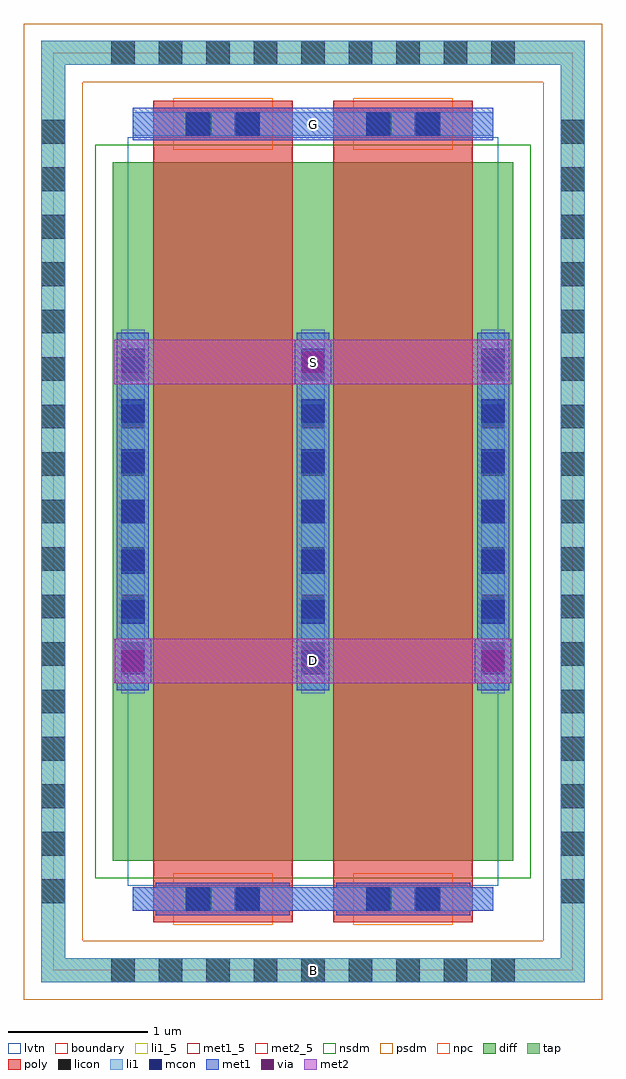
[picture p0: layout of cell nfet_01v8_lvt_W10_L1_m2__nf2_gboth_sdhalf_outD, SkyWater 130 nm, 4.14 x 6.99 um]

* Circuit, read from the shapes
.subckt nfet_01v8_lvt_W10_L1_m2__nf2_gboth_sdhalf_outD B D G S
XM1 S G D B sky130_fd_pr__nfet_01v8_lvt w=5 l=1 m=2
.ends

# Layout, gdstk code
import gdstk
lib = gdstk.Library(unit=1e-6, precision=1e-09)
def R(c, l, rs):  # rectangles x0, y0, x1, y1
    for r in rs: c.add(gdstk.rectangle(r[:2], r[2:], *l))
def A(c, l, x, y, w, h, nx, ny, dx, dy):  # array of equal rectangles
    R(c, l, [(x+i*dx, y+j*dy, x+i*dx+w, y+j*dy+h) for i in range(nx) for j in range(ny)])
diff = (65, 20)
tap = (65, 44)
poly = (66, 20)
licon = (66, 44)
li1_5 = (67, 5)
li1 = (67, 20)
mcon = (67, 44)
met1_5 = (68, 5)
met1 = (68, 20)
via = (68, 44)
met2_5 = (69, 5)
met2 = (69, 20)
nsdm = (93, 44)
psdm = (94, 20)
npc = (95, 20)
lvtn = (125, 44)
boundary = (235, 4)

sky130_fd_pr__nfet_01v8_ = lib.new_cell('sky130_fd_pr__nfet_01v8_lvt_W97P6K')
R(sky130_fd_pr__nfet_01v8_, diff, [(-1.435,-2.5,1.435,2.5)])
R(sky130_fd_pr__nfet_01v8_, tap, [(-1.945,-3.37,1.945,-3.2), (-1.945,-3.2,-1.775,3.2), (1.775,-3.2,1.945,3.2), (-1.945,3.2,1.945,3.37)])
R(sky130_fd_pr__nfet_01v8_, poly, [(-1.145,-2.94,-0.145,2.94), (0.145,-2.94,1.145,2.94)])
A(sky130_fd_pr__nfet_01v8_, licon, -1.445, -3.37, 0.17, 0.17, 9, 2, 0.34, 6.57)
A(sky130_fd_pr__nfet_01v8_, licon, -1.945, -2.805, 0.17, 0.17, 1, 17, 0, 0.34)
A(sky130_fd_pr__nfet_01v8_, licon, 1.775, -2.805, 0.17, 0.17, 1, 17, 0, 0.34)
A(sky130_fd_pr__nfet_01v8_, licon, -1.375, -1.105, 0.17, 0.17, 3, 7, 1.29, 0.34)
R(sky130_fd_pr__nfet_01v8_, licon, [(-0.9,-2.86,-0.73,-2.69), (-0.56,-2.86,-0.39,-2.69), (0.39,-2.86,0.56,-2.69), (0.73,-2.86,0.9,-2.69), (-0.9,2.69,-0.73,2.86), (-0.56,2.69,-0.39,2.86), (0.39,2.69,0.56,2.86), (0.73,2.69,0.9,2.86)])
A(sky130_fd_pr__nfet_01v8_, li1, -1.375, -1.3, 0.17, 2.6, 3, 1, 1.29, 0)
R(sky130_fd_pr__nfet_01v8_, li1, [(-1.945,-3.37,1.945,-3.2), (-1.945,-3.2,-1.775,3.2), (1.775,-3.2,1.945,3.2), (-1.29,-2.86,1.29,-2.69), (-1.29,2.69,1.29,2.86), (-1.945,3.2,1.945,3.37)])
A(sky130_fd_pr__nfet_01v8_, mcon, -1.375, -1.165, 0.17, 0.17, 3, 7, 1.29, 0.36)
R(sky130_fd_pr__nfet_01v8_, mcon, [(-0.91,-2.86,-0.74,-2.69), (-0.55,-2.86,-0.38,-2.69), (0.38,-2.86,0.55,-2.69), (0.74,-2.86,0.91,-2.69), (-0.91,2.69,-0.74,2.86), (-0.55,2.69,-0.38,2.86), (0.38,2.69,0.55,2.86), (0.74,2.69,0.91,2.86)])
A(sky130_fd_pr__nfet_01v8_, met1, -1.405, -1.28, 0.23, 2.56, 3, 1, 1.29, 0)
R(sky130_fd_pr__nfet_01v8_, met1, [(-1.125,-2.89,-0.165,-2.86), (0.165,-2.89,1.125,-2.86), (-1.29,-2.86,1.29,-2.69), (-1.125,-2.69,-0.165,-2.66), (0.165,-2.69,1.125,-2.66), (-1.125,2.66,-0.165,2.69), (0.165,2.66,1.125,2.69), (-1.29,2.69,1.29,2.86), (-1.125,2.86,-0.165,2.89), (0.165,2.86,1.125,2.89)])
R(sky130_fd_pr__nfet_01v8_, nsdm, [(-1.56,-2.625,1.56,2.625)])
R(sky130_fd_pr__nfet_01v8_, psdm, [(-2.07,-3.495,2.07,-3.075), (-2.07,-3.075,-1.65,3.075), (1.65,-3.075,2.07,3.075), (-2.07,3.075,2.07,3.495)])
R(sky130_fd_pr__nfet_01v8_, npc, [(-1,-2.96,-0.29,-2.59), (0.29,-2.96,1,-2.59), (-1,2.59,-0.29,2.96), (0.29,2.59,1,2.96)])
R(sky130_fd_pr__nfet_01v8_, lvtn, [(-1.325,-2.68,1.325,2.68)])
R(sky130_fd_pr__nfet_01v8_, boundary, [(-1.86,-3.285,1.86,3.285)])
sky130_fd_pr__nfet_01v8_.add(gdstk.Label('B', (0,-3.285), layer=67, texttype=5))
sky130_fd_pr__nfet_01v8_.add(gdstk.Label('D0', (-1.29,0), layer=67, texttype=5))
sky130_fd_pr__nfet_01v8_.add(gdstk.Label('G', (0.645,2.775), layer=67, texttype=5))
sky130_fd_pr__nfet_01v8_.add(gdstk.Label('G', (-0.645,2.775), layer=67, texttype=5))
sky130_fd_pr__nfet_01v8_.add(gdstk.Label('S1', (0,0), layer=67, texttype=5))

nfet_01v8_lvt_w10_l1_m2_ = lib.new_cell('nfet_01v8_lvt_W10_L1_m2__nf2_gboth_sdhalf_outD')
R(nfet_01v8_lvt_w10_l1_m2_, li1_5, [(1.775,-0.085,1.945,0.085)])
R(nfet_01v8_lvt_w10_l1_m2_, li1, [(1.775,-0.085,1.945,0.085)])
R(nfet_01v8_lvt_w10_l1_m2_, met1_5, [(0.57,5.945,3.15,6.175)])
R(nfet_01v8_lvt_w10_l1_m2_, met1, [(0.44,2.055,0.7,2.375), (3.02,2.055,3.28,2.375), (1.73,4.195,1.99,4.515), (0.57,5.945,3.15,6.175)])
R(nfet_01v8_lvt_w10_l1_m2_, via, [(0.495,2.14,0.645,2.29), (3.075,2.14,3.225,2.29), (1.785,4.28,1.935,4.43)])
R(nfet_01v8_lvt_w10_l1_m2_, met2_5, [(0.435,2.055,3.285,2.375), (0.435,4.195,3.285,4.515)])
R(nfet_01v8_lvt_w10_l1_m2_, met2, [(0.435,2.055,3.285,2.375), (0.435,4.195,3.285,4.515)])
nfet_01v8_lvt_w10_l1_m2_.add(gdstk.Reference(sky130_fd_pr__nfet_01v8_, (1.86,3.285)))
nfet_01v8_lvt_w10_l1_m2_.add(gdstk.Label('S', (1.86,4.355), layer=69, texttype=5))
nfet_01v8_lvt_w10_l1_m2_.add(gdstk.Label('D', (1.86,2.215), layer=69, texttype=5))
nfet_01v8_lvt_w10_l1_m2_.add(gdstk.Label('G', (1.86,6.06), layer=68, texttype=5))
nfet_01v8_lvt_w10_l1_m2_.add(gdstk.Label('B', (1.86,0), layer=67, texttype=5))

lib.write_gds('nfet_01v8_lvt_W10_L1_m2__nf2_gboth_sdhalf_outD.gds')
